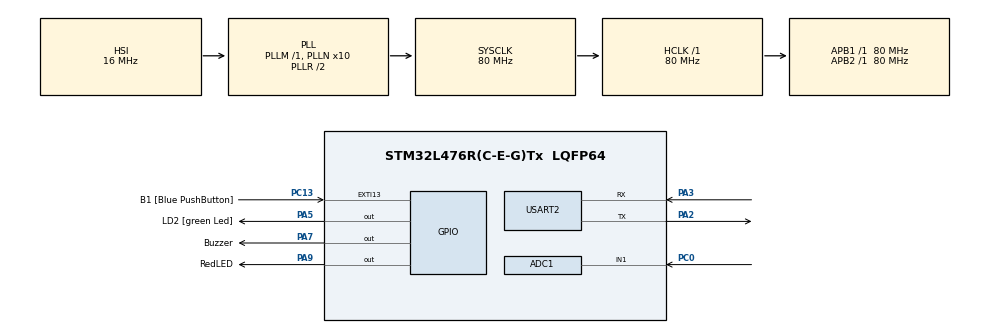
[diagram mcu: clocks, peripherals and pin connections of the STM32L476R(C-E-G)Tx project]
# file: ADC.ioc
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ADC1.Channel-2\#ChannelRegularConversion=ADC_CHANNEL_1
ADC1.NbrOfConversionFlag=1
ADC1.OffsetNumber-2\#ChannelRegularConversion=ADC_OFFSET_NONE
ADC1.Rank-2\#ChannelRegularConversion=1
ADC1.SamplingTime-2\#ChannelRegularConversion=ADC_SAMPLETIME_2CYCLES_5
ADC1.master=1
FREERTOS.Tasks01=Task1,24,128,StartTask1,Default,NULL,Dynamic,NULL,NULL;Task2,24,128,StartTask2,Default,NULL,Dynamic,NULL,NULL
Mcu.Family=STM32L4
Mcu.Name=STM32L476R(C-E-G)Tx
Mcu.Package=LQFP64
NVIC.PriorityGroup=NVIC_PRIORITYGROUP_4
NVIC.TIM6_DAC_IRQn=true\:15\:0\:false\:false\:true\:false\:false\:true\:true
NVIC.TimeBase=TIM6_DAC_IRQn
NVIC.TimeBaseIP=TIM6
NVIC.USART2_IRQn=true\:5\:0\:false\:false\:true\:true\:true\:true\:true
PA13\ (JTMS-SWDIO).GPIO_Label=TMS
PA13\ (JTMS-SWDIO).Mode=Trace_Asynchronous_SW
PA13\ (JTMS-SWDIO).Signal=SYS_JTMS-SWDIO
PA14\ (JTCK-SWCLK).GPIO_Label=TCK
PA14\ (JTCK-SWCLK).Mode=Trace_Asynchronous_SW
PA14\ (JTCK-SWCLK).Signal=SYS_JTCK-SWCLK
PA2.Mode=Asynchronous
PA2.Signal=USART2_TX
PA3.Mode=Asynchronous
PA3.Signal=USART2_RX
PA5.GPIO_Label=LD2 [green Led]
PA5.GPIO_ModeDefaultOutputPP=GPIO_MODE_OUTPUT_PP
PA5.GPIO_PuPd=GPIO_NOPULL
PA5.GPIO_Speed=GPIO_SPEED_FREQ_LOW
PA5.Signal=GPIO_Output
PA7.GPIO_Label=Buzzer
PA7.Signal=GPIO_Output
PA9.GPIO_Label=RedLED
PA9.Signal=GPIO_Output
PB3\ (JTDO-TRACESWO).GPIO_Label=SWO
PB3\ (JTDO-TRACESWO).Mode=Trace_Asynchronous_SW
PB3\ (JTDO-TRACESWO).Signal=SYS_JTDO-SWO
PC0.Signal=ADCx_IN1
PC13.GPIO_Label=B1 [Blue PushButton]
PC13.GPIO_ModeDefaultEXTI=GPIO_MODE_IT_FALLING
PC13.GPIO_PuPd=GPIO_NOPULL
PC13.Signal=GPXTI13
PC14-OSC32_IN\ (PC14).Mode=LSE-External-Oscillator
PC14-OSC32_IN\ (PC14).Signal=RCC_OSC32_IN
PC15-OSC32_OUT\ (PC15).Mode=LSE-External-Oscillator
PC15-OSC32_OUT\ (PC15).Signal=RCC_OSC32_OUT
PH0-OSC_IN\ (PH0).Signal=RCC_OSC_IN
PH1-OSC_OUT\ (PH1).Signal=RCC_OSC_OUT
ProjectManager.HeapSize=0x200
ProjectManager.StackSize=0x400
ProjectManager.TargetToolchain=STM32CubeIDE
RCC.ADCFreq_Value=64000000
RCC.AHBFreq_Value=80000000
RCC.APB1Freq_Value=80000000
RCC.APB1TimFreq_Value=80000000
RCC.APB2Freq_Value=80000000
RCC.APB2TimFreq_Value=80000000
RCC.CortexFreq_Value=80000000
RCC.HCLKFreq_Value=80000000
RCC.HSE_VALUE=8000000
RCC.HSI_VALUE=16000000
RCC.MSI_VALUE=4000000
RCC.PLLN=10
RCC.PLLSourceVirtual=RCC_PLLSOURCE_HSI
RCC.PREFETCH_ENABLE=1
RCC.SYSCLKFreq_VALUE=80000000
RCC.SYSCLKSource=RCC_SYSCLKSOURCE_PLLCLK
RCC.USBFreq_Value=64000000
RCC.VCOOutputFreq_Value=160000000
SH.ADCx_IN1.0=ADC1_IN1,IN1-Single-Ended
USART2.VirtualMode-Asynchronous=VM_ASYNC
VP_FREERTOS_VS_CMSIS_V2.Mode=CMSIS_V2
VP_SYS_VS_tim6.Mode=TIM6
board=NUCLEO-L476RG

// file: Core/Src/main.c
/* USER CODE BEGIN Header */
/**
  ******************************************************************************
  * @file           : main.c
  * @brief          : Main program body
  ******************************************************************************
  * @attention
  *
  * Copyright (c) 2024 STMicroelectronics.
  * All rights reserved.
  *
  * This software is licensed under terms that can be found in the LICENSE file
  * in the root directory of this software component.
  * If no LICENSE file comes with this software, it is provided AS-IS.
  *
  ******************************************************************************
  */
/* USER CODE END Header */
#include "main.h"
#include "cmsis_os.h"

/* USER CODE BEGIN Includes */
#include <stdio.h>
#include <string.h>
/* USER CODE END Includes */

/* USER CODE BEGIN PTD */
//UART_HandleTypeDef huart2;

uint8_t isRinging = 0;
uint8_t LEDState = 0;
uint8_t justStarted = 1;
uint32_t beginTime;

//uint8_t tx_buffer[5] = "oie\r\n";
//uint8_t rx_indx;
//uint8_t rx_data[2];
//uint8_t rx_buffer[100];
//uint8_t transfer_cplt;

#define STDOUT_FILENO   1
#define STDERR_FILENO   2
/* USER CODE END PTD */

ADC_HandleTypeDef hadc1;

UART_HandleTypeDef huart2;

/* Definitions for Task1 */
osThreadId_t Task1Handle;
const osThreadAttr_t Task1_attributes = {
  .name = "Task1",
  .stack_size = 128 * 4,
  .priority = (osPriority_t) osPriorityNormal,
};
/* Definitions for Task2 */
osThreadId_t Task2Handle;
const osThreadAttr_t Task2_attributes = {
  .name = "Task2",
  .stack_size = 128 * 4,
  .priority = (osPriority_t) osPriorityNormal,
};

void SystemClock_Config(void);
static void MX_GPIO_Init(void);
static void MX_ADC1_Init(void);
static void MX_USART2_UART_Init(void);
void StartTask1(void *argument);
void StartTask2(void *argument);

/* USER CODE BEGIN PFP */
int _write(int file, uint8_t *ptr, int len);
void blink_led(void);
void read_button_fcn(void);
void CMD(void);
/* USER CODE END PFP */

/* USER CODE BEGIN 0 */
int tempo = 5000;
/* USER CODE END 0 */

int main(void)
{

  /* MCU Configuration--------------------------------------------------------*/

  /* Reset of all peripherals, Initializes the Flash interface and the Systick. */
  HAL_Init();

  /* Configure the system clock */
  SystemClock_Config();

  /* Initialize all configured peripherals */
  MX_GPIO_Init();
  MX_ADC1_Init();
  MX_USART2_UART_Init();

  /* USER CODE BEGIN 2 */
//  HAL_UART_Receive_IT(&huart2, rx_data, 1);
  /* USER CODE END 2 */

  /* Init scheduler */
  osKernelInitialize();

  /* Create the thread(s) */
  /* creation of Task1 */
  Task1Handle = osThreadNew(StartTask1, NULL, &Task1_attributes);

  /* creation of Task2 */
  Task2Handle = osThreadNew(StartTask2, NULL, &Task2_attributes);

  /* Start scheduler */
  osKernelStart();

  /* We should never get here as control is now taken by the scheduler */

  /* Infinite loop */
  while (1)
  {

  }
}

void SystemClock_Config(void)
{
  RCC_OscInitTypeDef RCC_OscInitStruct = {0};
  RCC_ClkInitTypeDef RCC_ClkInitStruct = {0};

  /** Configure the main internal regulator output voltage
  */
  if (HAL_PWREx_ControlVoltageScaling(PWR_REGULATOR_VOLTAGE_SCALE1) != HAL_OK)
  {
    Error_Handler();
  }

  /** Initializes the RCC Oscillators according to the specified parameters
  * in the RCC_OscInitTypeDef structure.
  */
  RCC_OscInitStruct.OscillatorType = RCC_OSCILLATORTYPE_HSI;
  RCC_OscInitStruct.HSIState = RCC_HSI_ON;
  RCC_OscInitStruct.HSICalibrationValue = RCC_HSICALIBRATION_DEFAULT;
  RCC_OscInitStruct.PLL.PLLState = RCC_PLL_ON;
  RCC_OscInitStruct.PLL.PLLSource = RCC_PLLSOURCE_HSI;
  RCC_OscInitStruct.PLL.PLLM = 1;
  RCC_OscInitStruct.PLL.PLLN = 10;
  RCC_OscInitStruct.PLL.PLLP = RCC_PLLP_DIV7;
  RCC_OscInitStruct.PLL.PLLQ = RCC_PLLQ_DIV2;
  RCC_OscInitStruct.PLL.PLLR = RCC_PLLR_DIV2;
  if (HAL_RCC_OscConfig(&RCC_OscInitStruct) != HAL_OK)
  {
    Error_Handler();
  }

  /** Initializes the CPU, AHB and APB buses clocks
  */
  RCC_ClkInitStruct.ClockType = RCC_CLOCKTYPE_HCLK|RCC_CLOCKTYPE_SYSCLK
                              |RCC_CLOCKTYPE_PCLK1|RCC_CLOCKTYPE_PCLK2;
  RCC_ClkInitStruct.SYSCLKSource = RCC_SYSCLKSOURCE_PLLCLK;
  RCC_ClkInitStruct.AHBCLKDivider = RCC_SYSCLK_DIV1;
  RCC_ClkInitStruct.APB1CLKDivider = RCC_HCLK_DIV1;
  RCC_ClkInitStruct.APB2CLKDivider = RCC_HCLK_DIV1;

  if (HAL_RCC_ClockConfig(&RCC_ClkInitStruct, FLASH_LATENCY_4) != HAL_OK)
  {
    Error_Handler();
  }
}

static void MX_ADC1_Init(void)
{

  ADC_MultiModeTypeDef multimode = {0};
  ADC_ChannelConfTypeDef sConfig = {0};

  /** Common config
  */
  hadc1.Instance = ADC1;
  hadc1.Init.ClockPrescaler = ADC_CLOCK_ASYNC_DIV1;
  hadc1.Init.Resolution = ADC_RESOLUTION_12B;
  hadc1.Init.DataAlign = ADC_DATAALIGN_RIGHT;
  hadc1.Init.ScanConvMode = ADC_SCAN_DISABLE;
  hadc1.Init.EOCSelection = ADC_EOC_SINGLE_CONV;
  hadc1.Init.LowPowerAutoWait = DISABLE;
  hadc1.Init.ContinuousConvMode = DISABLE;
  hadc1.Init.NbrOfConversion = 1;
  hadc1.Init.DiscontinuousConvMode = DISABLE;
  hadc1.Init.ExternalTrigConv = ADC_SOFTWARE_START;
  hadc1.Init.ExternalTrigConvEdge = ADC_EXTERNALTRIGCONVEDGE_NONE;
  hadc1.Init.DMAContinuousRequests = DISABLE;
  hadc1.Init.Overrun = ADC_OVR_DATA_PRESERVED;
  hadc1.Init.OversamplingMode = DISABLE;
  if (HAL_ADC_Init(&hadc1) != HAL_OK)
  {
    Error_Handler();
  }

  /** Configure the ADC multi-mode
  */
  multimode.Mode = ADC_MODE_INDEPENDENT;
  if (HAL_ADCEx_MultiModeConfigChannel(&hadc1, &multimode) != HAL_OK)
  {
    Error_Handler();
  }

  /** Configure Regular Channel
  */
  sConfig.Channel = ADC_CHANNEL_1;
  sConfig.Rank = ADC_REGULAR_RANK_1;
  sConfig.SamplingTime = ADC_SAMPLETIME_2CYCLES_5;
  sConfig.SingleDiff = ADC_SINGLE_ENDED;
  sConfig.OffsetNumber = ADC_OFFSET_NONE;
  sConfig.Offset = 0;
  if (HAL_ADC_ConfigChannel(&hadc1, &sConfig) != HAL_OK)
  {
    Error_Handler();
  }

}

static void MX_USART2_UART_Init(void)
{

  huart2.Instance = USART2;
  huart2.Init.BaudRate = 115200;
  huart2.Init.WordLength = UART_WORDLENGTH_8B;
  huart2.Init.StopBits = UART_STOPBITS_1;
  huart2.Init.Parity = UART_PARITY_NONE;
  huart2.Init.Mode = UART_MODE_TX_RX;
  huart2.Init.HwFlowCtl = UART_HWCONTROL_NONE;
  huart2.Init.OverSampling = UART_OVERSAMPLING_16;
  huart2.Init.OneBitSampling = UART_ONE_BIT_SAMPLE_DISABLE;
  huart2.AdvancedInit.AdvFeatureInit = UART_ADVFEATURE_NO_INIT;
  if (HAL_UART_Init(&huart2) != HAL_OK)
  {
    Error_Handler();
  }

}

static void MX_GPIO_Init(void)
{
  GPIO_InitTypeDef GPIO_InitStruct = {0};

  /* GPIO Ports Clock Enable */
  __HAL_RCC_GPIOC_CLK_ENABLE();
  __HAL_RCC_GPIOH_CLK_ENABLE();
  __HAL_RCC_GPIOA_CLK_ENABLE();
  __HAL_RCC_GPIOB_CLK_ENABLE();

  /*Configure GPIO pin Output Level */
  HAL_GPIO_WritePin(GPIOA, LD2_Pin|Buzzer_Pin|RedLED_Pin, GPIO_PIN_RESET);

  /*Configure GPIO pin : B1_Pin */
  GPIO_InitStruct.Pin = B1_Pin;
  GPIO_InitStruct.Mode = GPIO_MODE_IT_FALLING;
  GPIO_InitStruct.Pull = GPIO_NOPULL;
  HAL_GPIO_Init(B1_GPIO_Port, &GPIO_InitStruct);

  /*Configure GPIO pins : LD2_Pin Buzzer_Pin RedLED_Pin */
  GPIO_InitStruct.Pin = LD2_Pin|Buzzer_Pin|RedLED_Pin;
  GPIO_InitStruct.Mode = GPIO_MODE_OUTPUT_PP;
  GPIO_InitStruct.Pull = GPIO_NOPULL;
  GPIO_InitStruct.Speed = GPIO_SPEED_FREQ_LOW;
  HAL_GPIO_Init(GPIOA, &GPIO_InitStruct);

}

/* USER CODE BEGIN 4 */
void CMD(void){
   for(;;){
        char recebido;
        if (HAL_UART_Receive(&huart2, &recebido, 1, HAL_MAX_DELAY)==HAL_OK)
            switch(recebido){
            case 'V':
            case 'v':
            	Alarm_Start();
            	HAL_UART_Transmit(&huart2, "interpreter alarm start\n\r", sizeof("alarm start\n\r"), HAL_MAX_DELAY);
                break;
            case 'Y':
            case 'y':
            	  Super_Alarm();
                  HAL_UART_Transmit(&huart2, "interpreter alarm stop\n\r", sizeof("led Yellow Toggle\n\r"), HAL_MAX_DELAY);
                break;
            default:
                HAL_UART_Transmit(&huart2, "invalid \n\r", sizeof("invalid \n\r"), HAL_MAX_DELAY);
            }

   }
}

void BlinkLED(int duration){

	HAL_GPIO_TogglePin(LD2_GPIO_Port, LD2_Pin);
	HAL_Delay(duration);
	HAL_GPIO_TogglePin(LD2_GPIO_Port, LD2_Pin);
}

int Blue_Button_Pressed(){

	return HAL_GPIO_ReadPin(B1_GPIO_Port, B1_Pin);
}

void Alarm_Start(){

	while (Blue_Button_Pressed()) {
		printf("Alarme Tocando\r\n");
		HAL_GPIO_TogglePin(RedLED_GPIO_Port, RedLED_Pin);

		HAL_GPIO_TogglePin(Buzzer_GPIO_Port, Buzzer_Pin);
		HAL_GPIO_TogglePin(LD2_GPIO_Port, LD2_Pin);
		HAL_Delay(200);

	}
	HAL_GPIO_WritePin(Buzzer_GPIO_Port, Buzzer_Pin, 0);
	HAL_GPIO_WritePin(LD2_GPIO_Port, LD2_Pin, 0);
	printf("Alarme Interrompido\r\n");
	HAL_Delay(500);
}

void Super_Alarm(){
	while (Blue_Button_Pressed()) {
		printf("Alarme Tocando\r\n");
		HAL_GPIO_TogglePin(RedLED_GPIO_Port, RedLED_Pin);

		HAL_GPIO_TogglePin(Buzzer_GPIO_Port, Buzzer_Pin);
		HAL_GPIO_TogglePin(LD2_GPIO_Port, LD2_Pin);

	}
	HAL_GPIO_WritePin(Buzzer_GPIO_Port, Buzzer_Pin, 0);
	HAL_GPIO_WritePin(LD2_GPIO_Port, LD2_Pin, 0);
	printf("Alarme Interrompido\r\n");
	HAL_Delay(500);
}

int _write(int file, uint8_t *ptr, int len) {
	switch (file) {
	case STDOUT_FILENO:
		HAL_UART_Transmit(&huart2, ptr, len, HAL_MAX_DELAY);
		break;

	case STDERR_FILENO:
		HAL_UART_Transmit(&huart2, ptr, len, HAL_MAX_DELAY);
		break;

	default:
		return -1;
	}

	return len;
}

//void HAL_UART_RxCpltCallback(UART_HandleTypeDef *huart)
//{
//  /* Prevent unused argument(s) compilation warning */
//  UNUSED(huart);
//
//  /* NOTE : This function should not be modified, when the callback is needed,
//            the HAL_UART_RxCpltCallback can be implemented in the user file.
//   */
//
//  uint8_t i;
//  if (huart->instance == USART2)
//  {
//	  if(rx_indx == 0)
//	  {
//		  for(i=0; i<100; i++)
//		  {
//			  rx_buffer[i] = 0;
//			  Alarm_Start();
//		  }
//	  }
//
//	  if(rx_data[0] != 13)
//	  {
//		  rx_buffer[rx_indx++] = rx_data[0];
//	  }
//	  else
//	  {
//		  rx_indx = 0;
//		  transfer_cplt = 1;
//		  HAL_UART_Transmit($huart2, "\n\r", 2, 100);
//		  if(!strcmp(rx_buffer, "a"))
//		  {
//			  Alarm_Start();
//		  }
//	  }
//
//	  HAL_UART_Receive_IT($huart2, rx_data, 1);
//	  HAL_UART_Transmit(&huart2, strlen(rx_data), 100);
//  }
//}
/* USER CODE END 4 */

void StartTask1(void *argument)
{
  /* USER CODE BEGIN 5 */
	uint32_t largada;
	int tempo = 0;

	/* Infinite loop */
	for(;;)
	{
	  while (Blue_Button_Pressed());

			  while (!Blue_Button_Pressed());
			  HAL_Delay(20);

			  largada = HAL_GetTick();
			  tempo += 5000;

			  while (HAL_GetTick() < largada + tempo) {

				  if (!Blue_Button_Pressed()){

					  while(!Blue_Button_Pressed());
					  HAL_Delay(20);

					  tempo += 5000;
				  }
			  }

			  Alarm_Start();
	}
  /* USER CODE END 5 */
}

void StartTask2(void *argument)
{
  /* USER CODE BEGIN StartTask2 */
	  for(;;)
	  {
		CMD();
		if (!Blue_Button_Pressed()) {
			while(!Blue_Button_Pressed()) {
				HAL_GPIO_WritePin(RedLED_GPIO_Port, RedLED_Pin, 1);
			}
			HAL_GPIO_WritePin(LD2_GPIO_Port, RedLED_Pin, 0);
		}
	  }
  /* USER CODE END StartTask2 */
}

void HAL_TIM_PeriodElapsedCallback(TIM_HandleTypeDef *htim)
{
  if (htim->Instance == TIM6) {
    HAL_IncTick();
  }
}

void Error_Handler(void)
{
  __disable_irq();
  while (1)
  {
  }
}
